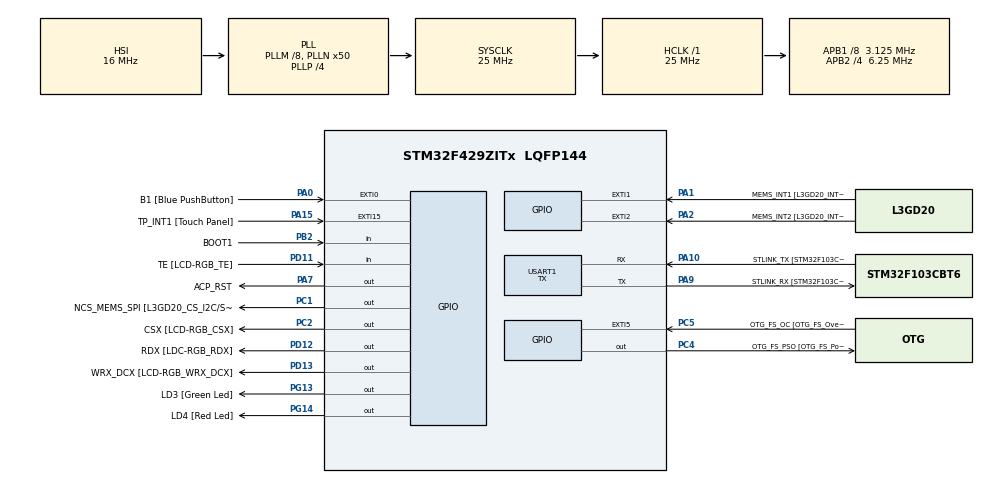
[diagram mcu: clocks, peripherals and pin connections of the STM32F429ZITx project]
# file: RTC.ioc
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Mcu.Family=STM32F4
Mcu.Name=STM32F429ZITx
Mcu.Package=LQFP144
NVIC.PriorityGroup=NVIC_PRIORITYGROUP_0
PA0/WKUP.GPIO_Label=B1 [Blue PushButton]
PA0/WKUP.GPIO_ModeDefaultEXTI=GPIO_MODE_EVT_RISING
PA0/WKUP.GPIO_PuPd=GPIO_NOPULL
PA0/WKUP.Signal=GPXTI0
PA1.GPIO_Label=MEMS_INT1 [L3GD20_INT1]
PA1.GPIO_ModeDefaultEXTI=GPIO_MODE_EVT_RISING
PA1.GPIO_PuPd=GPIO_NOPULL
PA1.Signal=GPXTI1
PA10.GPIO_Label=STLINK_TX [STM32F103CBT6_PA2]
PA10.Mode=Asynchronous
PA10.Signal=USART1_RX
PA11.Signal=USART1_CTS
PA12.Signal=USART1_RTS
PA13.GPIO_Label=SWDIO
PA13.Signal=SYS_JTMS-SWDIO
PA14.GPIO_Label=SWCLK
PA14.Signal=SYS_JTCK-SWCLK
PA15.GPIO_Label=TP_INT1 [Touch Panel]
PA15.GPIO_ModeDefaultEXTI=GPIO_MODE_EVT_RISING
PA15.GPIO_PuPd=GPIO_NOPULL
PA15.Signal=GPXTI15
PA2.GPIO_Label=MEMS_INT2 [L3GD20_INT2]
PA2.GPIO_ModeDefaultEXTI=GPIO_MODE_EVT_RISING
PA2.GPIO_PuPd=GPIO_NOPULL
PA2.Signal=GPXTI2
PA3.GPIO_Label=B5
PA3.GPIO_Mode=GPIO_MODE_AF_PP
PA3.GPIO_PuPd=GPIO_NOPULL
PA3.GPIO_Speed=GPIO_SPEED_FREQ_LOW
PA3.Signal=LTDC_B5
PA4.GPIO_Label=VSYNC
PA4.GPIO_Mode=GPIO_MODE_AF_PP
PA4.GPIO_PuPd=GPIO_NOPULL
PA4.GPIO_Speed=GPIO_SPEED_FREQ_LOW
PA4.Signal=LTDC_VSYNC
PA6.GPIO_Label=G2
PA6.GPIO_Mode=GPIO_MODE_AF_PP
PA6.GPIO_PuPd=GPIO_NOPULL
PA6.GPIO_Speed=GPIO_SPEED_FREQ_LOW
PA6.Signal=LTDC_G2
PA7.GPIO_Label=ACP_RST
PA7.GPIO_Mode=GPIO_MODE_OUTPUT_PP
PA7.GPIO_PuPd=GPIO_NOPULL
PA7.GPIO_Speed=GPIO_SPEED_FREQ_LOW
PA7.Signal=GPIO_Output
PA9.GPIO_Label=STLINK_RX [STM32F103CBT6_PA3]
PA9.Mode=Asynchronous
PA9.Signal=USART1_TX
PB0.GPIO_Label=R3
PB0.GPIO_Mode=GPIO_MODE_AF_PP
PB0.GPIO_PuPd=GPIO_NOPULL
PB0.GPIO_Speed=GPIO_SPEED_FREQ_LOW
PB0.Signal=LTDC_R3
PB1.GPIO_Label=R6
PB1.GPIO_Mode=GPIO_MODE_AF_PP
PB1.GPIO_PuPd=GPIO_NOPULL
PB1.GPIO_Speed=GPIO_SPEED_FREQ_LOW
PB1.Signal=LTDC_R6
PB10.GPIO_Label=G4
PB10.GPIO_Mode=GPIO_MODE_AF_PP
PB10.GPIO_PuPd=GPIO_NOPULL
PB10.GPIO_Speed=GPIO_SPEED_FREQ_LOW
PB10.Signal=LTDC_G4
PB11.GPIO_Label=G5
PB11.GPIO_Mode=GPIO_MODE_AF_PP
PB11.GPIO_PuPd=GPIO_NOPULL
PB11.GPIO_Speed=GPIO_SPEED_FREQ_LOW
PB11.Signal=LTDC_G5
PB12.GPIO_Label=OTG_HS_ID
PB12.GPIO_Mode=GPIO_MODE_AF_PP
PB12.GPIO_PuPd=GPIO_NOPULL
PB12.GPIO_Speed=GPIO_SPEED_FREQ_LOW
PB12.Signal=USB_OTG_HS_ID
PB13.GPIO_Label=VBUS_HS
PB13.GPIO_Mode=GPIO_MODE_INPUT
PB13.GPIO_PuPd=GPIO_NOPULL
PB13.Signal=USB_OTG_HS_VBUS
PB14.GPIO_Label=OTG_HS_DM
PB14.GPIO_Mode=GPIO_MODE_AF_PP
PB14.GPIO_PuPd=GPIO_NOPULL
PB14.GPIO_Speed=GPIO_SPEED_FREQ_LOW
PB14.Signal=USB_OTG_HS_DM
PB15.GPIO_Label=OTG_HS_DP
PB15.GPIO_Mode=GPIO_MODE_AF_PP
PB15.GPIO_PuPd=GPIO_NOPULL
PB15.GPIO_Speed=GPIO_SPEED_FREQ_LOW
PB15.Signal=USB_OTG_HS_DP
PB2/BOOT1.GPIO_Label=BOOT1
PB2/BOOT1.GPIO_Mode=GPIO_MODE_INPUT
PB2/BOOT1.GPIO_PuPd=GPIO_NOPULL
PB2/BOOT1.Signal=GPIO_Input
PB5.GPIO_Label=SDCKE1
PB5.GPIO_Mode=GPIO_MODE_AF_PP
PB5.GPIO_PuPd=GPIO_NOPULL
PB5.GPIO_Speed=GPIO_SPEED_FREQ_VERY_HIGH
PB5.Signal=FMC_SDCKE1
PB6.GPIO_Label=SDNE1 [SDRAM_CS]
PB6.GPIO_Mode=GPIO_MODE_AF_PP
PB6.GPIO_PuPd=GPIO_NOPULL
PB6.GPIO_Speed=GPIO_SPEED_FREQ_VERY_HIGH
PB6.Signal=FMC_SDNE1
PB8.GPIO_Label=B6
PB8.GPIO_Mode=GPIO_MODE_AF_PP
PB8.GPIO_PuPd=GPIO_NOPULL
PB8.GPIO_Speed=GPIO_SPEED_FREQ_LOW
PB8.Signal=LTDC_B6
PB9.GPIO_Label=B7
PB9.GPIO_Mode=GPIO_MODE_AF_PP
PB9.GPIO_PuPd=GPIO_NOPULL
PB9.GPIO_Speed=GPIO_SPEED_FREQ_LOW
PB9.Signal=LTDC_B7
PC0.GPIO_Label=SDNWE
PC0.GPIO_Mode=GPIO_MODE_AF_PP
PC0.GPIO_PuPd=GPIO_NOPULL
PC0.GPIO_Speed=GPIO_SPEED_FREQ_VERY_HIGH
PC0.Signal=FMC_SDNWE
PC1.GPIO_Label=NCS_MEMS_SPI [L3GD20_CS_I2C/SPI]
PC1.GPIO_Mode=GPIO_MODE_OUTPUT_PP
PC1.GPIO_PuPd=GPIO_NOPULL
PC1.GPIO_Speed=GPIO_SPEED_FREQ_LOW
PC1.Signal=GPIO_Output
PC10.GPIO_Label=R2
PC10.GPIO_Mode=GPIO_MODE_AF_PP
PC10.GPIO_PuPd=GPIO_NOPULL
PC10.GPIO_Speed=GPIO_SPEED_FREQ_LOW
PC10.Signal=LTDC_R2
PC14/OSC32_IN.GPIO_Label=PC14-OSC32_IN
PC14/OSC32_IN.Signal=RCC_OSC32_IN
PC15/OSC32_OUT.GPIO_Label=PC15-OSC32_OUT
PC15/OSC32_OUT.Signal=RCC_OSC32_OUT
PC2.GPIO_Label=CSX [LCD-RGB_CSX]
PC2.GPIO_Mode=GPIO_MODE_OUTPUT_PP
PC2.GPIO_PuPd=GPIO_NOPULL
PC2.GPIO_Speed=GPIO_SPEED_FREQ_LOW
PC2.Signal=GPIO_Output
PC4.GPIO_Label=OTG_FS_PSO [OTG_FS_PowerSwitchOn]
PC4.GPIO_Mode=GPIO_MODE_OUTPUT_PP
PC4.GPIO_PuPd=GPIO_NOPULL
PC4.GPIO_Speed=GPIO_SPEED_FREQ_LOW
PC4.Signal=GPIO_Output
PC5.GPIO_Label=OTG_FS_OC [OTG_FS_OverCurrent]
PC5.GPIO_ModeDefaultEXTI=GPIO_MODE_EVT_RISING
PC5.Signal=GPXTI5
PC6.GPIO_Label=HSYNC
PC6.GPIO_Mode=GPIO_MODE_AF_PP
PC6.GPIO_PuPd=GPIO_NOPULL
PC6.GPIO_Speed=GPIO_SPEED_FREQ_LOW
PC6.Signal=LTDC_HSYNC
PC7.GPIO_Label=G6
PC7.GPIO_Mode=GPIO_MODE_AF_PP
PC7.GPIO_PuPd=GPIO_NOPULL
PC7.GPIO_Speed=GPIO_SPEED_FREQ_LOW
PC7.Signal=LTDC_G6
PC9.GPIO_Label=I2C3_SDA [ACP/RF_SDA]
PC9.GPIO_Mode=GPIO_MODE_AF_OD
PC9.GPIO_PuPd=GPIO_NOPULL
PC9.GPIO_Speed=GPIO_SPEED_FREQ_LOW
PC9.Signal=I2C3_SDA
PD0.GPIO_Label=D2
PD0.GPIO_Mode=GPIO_MODE_AF_PP
PD0.GPIO_PuPd=GPIO_NOPULL
PD0.GPIO_Speed=GPIO_SPEED_FREQ_VERY_HIGH
PD0.Signal=FMC_D2_DA2
PD1.GPIO_Label=D3
PD1.GPIO_Mode=GPIO_MODE_AF_PP
PD1.GPIO_PuPd=GPIO_NOPULL
PD1.GPIO_Speed=GPIO_SPEED_FREQ_VERY_HIGH
PD1.Signal=FMC_D3_DA3
PD10.GPIO_Label=D15
PD10.GPIO_Mode=GPIO_MODE_AF_PP
PD10.GPIO_PuPd=GPIO_NOPULL
PD10.GPIO_Speed=GPIO_SPEED_FREQ_VERY_HIGH
PD10.Signal=FMC_D15_DA15
PD11.GPIO_Label=TE [LCD-RGB_TE]
PD11.GPIO_Mode=GPIO_MODE_INPUT
PD11.GPIO_PuPd=GPIO_NOPULL
PD11.Signal=GPIO_Input
PD12.GPIO_Label=RDX [LDC-RGB_RDX]
PD12.GPIO_Mode=GPIO_MODE_OUTPUT_PP
PD12.GPIO_PuPd=GPIO_NOPULL
PD12.GPIO_Speed=GPIO_SPEED_FREQ_LOW
PD12.Signal=GPIO_Output
PD13.GPIO_Label=WRX_DCX [LCD-RGB_WRX_DCX]
PD13.GPIO_Mode=GPIO_MODE_OUTPUT_PP
PD13.GPIO_PuPd=GPIO_NOPULL
PD13.GPIO_Speed=GPIO_SPEED_FREQ_LOW
PD13.Signal=GPIO_Output
PD14.GPIO_Label=D0
PD14.GPIO_Mode=GPIO_MODE_AF_PP
PD14.GPIO_PuPd=GPIO_NOPULL
PD14.GPIO_Speed=GPIO_SPEED_FREQ_VERY_HIGH
PD14.Signal=FMC_D0_DA0
PD15.GPIO_Label=D1
PD15.GPIO_Mode=GPIO_MODE_AF_PP
PD15.GPIO_PuPd=GPIO_NOPULL
PD15.GPIO_Speed=GPIO_SPEED_FREQ_VERY_HIGH
PD15.Signal=FMC_D1_DA1
PD3.GPIO_Label=G7
PD3.GPIO_Mode=GPIO_MODE_AF_PP
PD3.GPIO_PuPd=GPIO_NOPULL
PD3.GPIO_Speed=GPIO_SPEED_FREQ_LOW
PD3.Signal=LTDC_G7
PD6.GPIO_Label=B2
PD6.GPIO_Mode=GPIO_MODE_AF_PP
PD6.GPIO_PuPd=GPIO_NOPULL
PD6.GPIO_Speed=GPIO_SPEED_FREQ_LOW
PD6.Signal=LTDC_B2
PD8.GPIO_Label=D13
PD8.GPIO_Mode=GPIO_MODE_AF_PP
PD8.GPIO_PuPd=GPIO_NOPULL
PD8.GPIO_Speed=GPIO_SPEED_FREQ_VERY_HIGH
PD8.Signal=FMC_D13_DA13
PD9.GPIO_Label=D14
PD9.GPIO_Mode=GPIO_MODE_AF_PP
PD9.GPIO_PuPd=GPIO_NOPULL
PD9.GPIO_Speed=GPIO_SPEED_FREQ_VERY_HIGH
PD9.Signal=FMC_D14_DA14
PE0.GPIO_Label=NBL0 [SDRAM_LDQM]
PE0.GPIO_Mode=GPIO_MODE_AF_PP
PE0.GPIO_PuPd=GPIO_NOPULL
PE0.GPIO_Speed=GPIO_SPEED_FREQ_VERY_HIGH
PE0.Signal=FMC_NBL0
PE1.GPIO_Label=NBL1 [SDRAM_UDQM]
PE1.GPIO_Mode=GPIO_MODE_AF_PP
PE1.GPIO_PuPd=GPIO_NOPULL
PE1.GPIO_Speed=GPIO_SPEED_FREQ_VERY_HIGH
PE1.Signal=FMC_NBL1
PE10.GPIO_Label=D7
PE10.GPIO_Mode=GPIO_MODE_AF_PP
PE10.GPIO_PuPd=GPIO_NOPULL
PE10.GPIO_Speed=GPIO_SPEED_FREQ_VERY_HIGH
PE10.Signal=FMC_D7_DA7
PE11.GPIO_Label=D8
PE11.GPIO_Mode=GPIO_MODE_AF_PP
PE11.GPIO_PuPd=GPIO_NOPULL
PE11.GPIO_Speed=GPIO_SPEED_FREQ_VERY_HIGH
PE11.Signal=FMC_D8_DA8
PE12.GPIO_Label=D9
PE12.GPIO_Mode=GPIO_MODE_AF_PP
PE12.GPIO_PuPd=GPIO_NOPULL
PE12.GPIO_Speed=GPIO_SPEED_FREQ_VERY_HIGH
PE12.Signal=FMC_D9_DA9
PE13.GPIO_Label=D10
PE13.GPIO_Mode=GPIO_MODE_AF_PP
PE13.GPIO_PuPd=GPIO_NOPULL
PE13.GPIO_Speed=GPIO_SPEED_FREQ_VERY_HIGH
PE13.Signal=FMC_D10_DA10
PE14.GPIO_Label=D11
PE14.GPIO_Mode=GPIO_MODE_AF_PP
PE14.GPIO_PuPd=GPIO_NOPULL
PE14.GPIO_Speed=GPIO_SPEED_FREQ_VERY_HIGH
PE14.Signal=FMC_D11_DA11
PE15.GPIO_Label=D12
PE15.GPIO_Mode=GPIO_MODE_AF_PP
PE15.GPIO_PuPd=GPIO_NOPULL
PE15.GPIO_Speed=GPIO_SPEED_FREQ_VERY_HIGH
PE15.Signal=FMC_D12_DA12
PE7.GPIO_Label=D4
PE7.GPIO_Mode=GPIO_MODE_AF_PP
PE7.GPIO_PuPd=GPIO_NOPULL
PE7.GPIO_Speed=GPIO_SPEED_FREQ_VERY_HIGH
PE7.Signal=FMC_D4_DA4
PE8.GPIO_Label=D5
PE8.GPIO_Mode=GPIO_MODE_AF_PP
PE8.GPIO_PuPd=GPIO_NOPULL
PE8.GPIO_Speed=GPIO_SPEED_FREQ_VERY_HIGH
PE8.Signal=FMC_D5_DA5
PE9.GPIO_Label=D6
PE9.GPIO_Mode=GPIO_MODE_AF_PP
PE9.GPIO_PuPd=GPIO_NOPULL
PE9.GPIO_Speed=GPIO_SPEED_FREQ_VERY_HIGH
PE9.Signal=FMC_D6_DA6
PF0.GPIO_Label=A0
PF0.GPIO_Mode=GPIO_MODE_AF_PP
PF0.GPIO_PuPd=GPIO_NOPULL
PF0.GPIO_Speed=GPIO_SPEED_FREQ_VERY_HIGH
PF0.Signal=FMC_A0
PF1.GPIO_Label=A1
PF1.GPIO_Mode=GPIO_MODE_AF_PP
PF1.GPIO_PuPd=GPIO_NOPULL
PF1.GPIO_Speed=GPIO_SPEED_FREQ_VERY_HIGH
PF1.Signal=FMC_A1
PF10.GPIO_Label=ENABLE [LCD-RGB_ENABLE]
PF10.GPIO_Mode=GPIO_MODE_AF_PP
PF10.GPIO_PuPd=GPIO_NOPULL
PF10.GPIO_Speed=GPIO_SPEED_FREQ_LOW
PF10.Signal=LTDC_DE
PF11.GPIO_Label=SDNRAS
PF11.GPIO_Mode=GPIO_MODE_AF_PP
PF11.GPIO_PuPd=GPIO_NOPULL
PF11.GPIO_Speed=GPIO_SPEED_FREQ_VERY_HIGH
PF11.Signal=FMC_SDNRAS
PF12.GPIO_Label=A6
PF12.GPIO_Mode=GPIO_MODE_AF_PP
PF12.GPIO_PuPd=GPIO_NOPULL
PF12.GPIO_Speed=GPIO_SPEED_FREQ_VERY_HIGH
PF12.Signal=FMC_A6
PF13.GPIO_Label=A7
PF13.GPIO_Mode=GPIO_MODE_AF_PP
PF13.GPIO_PuPd=GPIO_NOPULL
PF13.GPIO_Speed=GPIO_SPEED_FREQ_VERY_HIGH
PF13.Signal=FMC_A7
PF14.GPIO_Label=A8
PF14.GPIO_Mode=GPIO_MODE_AF_PP
PF14.GPIO_PuPd=GPIO_NOPULL
PF14.GPIO_Speed=GPIO_SPEED_FREQ_VERY_HIGH
PF14.Signal=FMC_A8
PF15.GPIO_Label=A9
PF15.GPIO_Mode=GPIO_MODE_AF_PP
PF15.GPIO_PuPd=GPIO_NOPULL
PF15.GPIO_Speed=GPIO_SPEED_FREQ_VERY_HIGH
PF15.Signal=FMC_A9
PF2.GPIO_Label=A2
PF2.GPIO_Mode=GPIO_MODE_AF_PP
PF2.GPIO_PuPd=GPIO_NOPULL
PF2.GPIO_Speed=GPIO_SPEED_FREQ_VERY_HIGH
PF2.Signal=FMC_A2
PF3.GPIO_Label=A3
PF3.GPIO_Mode=GPIO_MODE_AF_PP
PF3.GPIO_PuPd=GPIO_NOPULL
PF3.GPIO_Speed=GPIO_SPEED_FREQ_VERY_HIGH
PF3.Signal=FMC_A3
PF4.GPIO_Label=A4
PF4.GPIO_Mode=GPIO_MODE_AF_PP
PF4.GPIO_PuPd=GPIO_NOPULL
PF4.GPIO_Speed=GPIO_SPEED_FREQ_VERY_HIGH
PF4.Signal=FMC_A4
PF5.GPIO_Label=A5
PF5.GPIO_Mode=GPIO_MODE_AF_PP
PF5.GPIO_PuPd=GPIO_NOPULL
PF5.GPIO_Speed=GPIO_SPEED_FREQ_VERY_HIGH
PF5.Signal=FMC_A5
PF7.GPIO_Label=SPI5_SCK [L3GD20_SCL/SPC]
PF7.GPIO_Mode=GPIO_MODE_AF_PP
PF7.GPIO_PuPd=GPIO_NOPULL
PF7.GPIO_Speed=GPIO_SPEED_FREQ_LOW
PF7.Signal=SPI5_SCK
PF8.GPIO_Label=SPI5_MISO [L3GD20_SDO]
PF8.GPIO_Mode=GPIO_MODE_AF_PP
PF8.GPIO_PuPd=GPIO_NOPULL
PF8.GPIO_Speed=GPIO_SPEED_FREQ_LOW
PF8.Signal=SPI5_MISO
PF9.GPIO_Label=SPI5_MOSI [L3GD20_SDA/SDI/SDO]
PF9.GPIO_Mode=GPIO_MODE_AF_PP
PF9.GPIO_PuPd=GPIO_NOPULL
PF9.GPIO_Speed=GPIO_SPEED_FREQ_LOW
PF9.Signal=SPI5_MOSI
PG0.GPIO_Label=A10
PG0.GPIO_Mode=GPIO_MODE_AF_PP
PG0.GPIO_PuPd=GPIO_NOPULL
PG0.GPIO_Speed=GPIO_SPEED_FREQ_VERY_HIGH
PG0.Signal=FMC_A10
PG1.GPIO_Label=A11
PG1.GPIO_Mode=GPIO_MODE_AF_PP
PG1.GPIO_PuPd=GPIO_NOPULL
PG1.GPIO_Speed=GPIO_SPEED_FREQ_VERY_HIGH
PG1.Signal=FMC_A11
PG10.GPIO_Label=G3
PG10.GPIO_Mode=GPIO_MODE_AF_PP
PG10.GPIO_PuPd=GPIO_NOPULL
PG10.GPIO_Speed=GPIO_SPEED_FREQ_LOW
PG10.Signal=LTDC_G3
PG11.GPIO_Label=B3
PG11.GPIO_Mode=GPIO_MODE_AF_PP
PG11.GPIO_PuPd=GPIO_NOPULL
PG11.GPIO_Speed=GPIO_SPEED_FREQ_LOW
PG11.Signal=LTDC_B3
PG12.GPIO_Label=B4
PG12.GPIO_Mode=GPIO_MODE_AF_PP
PG12.GPIO_PuPd=GPIO_NOPULL
PG12.GPIO_Speed=GPIO_SPEED_FREQ_LOW
PG12.Signal=LTDC_B4
PG13.GPIO_Label=LD3 [Green Led]
PG13.GPIO_Mode=GPIO_MODE_OUTPUT_PP
PG13.GPIO_PuPd=GPIO_NOPULL
PG13.GPIO_Speed=GPIO_SPEED_FREQ_LOW
PG13.Signal=GPIO_Output
PG14.GPIO_Label=LD4 [Red Led]
PG14.GPIO_Mode=GPIO_MODE_OUTPUT_PP
PG14.GPIO_PuPd=GPIO_NOPULL
PG14.GPIO_Speed=GPIO_SPEED_FREQ_LOW
PG14.Signal=GPIO_Output
PG15.GPIO_Label=SDNCAS
PG15.GPIO_Mode=GPIO_MODE_AF_PP
PG15.GPIO_PuPd=GPIO_NOPULL
PG15.GPIO_Speed=GPIO_SPEED_FREQ_VERY_HIGH
PG15.Signal=FMC_SDNCAS
PG4.GPIO_Label=BA0
PG4.GPIO_Mode=GPIO_MODE_AF_PP
PG4.GPIO_PuPd=GPIO_NOPULL
PG4.GPIO_Speed=GPIO_SPEED_FREQ_VERY_HIGH
PG4.Signal=FMC_A14_BA0
PG5.GPIO_Label=BA1
PG5.GPIO_Mode=GPIO_MODE_AF_PP
PG5.GPIO_PuPd=GPIO_NOPULL
PG5.GPIO_Speed=GPIO_SPEED_FREQ_VERY_HIGH
PG5.Signal=FMC_A15_BA1
PG6.GPIO_Label=R7
PG6.GPIO_Mode=GPIO_MODE_AF_PP
PG6.GPIO_PuPd=GPIO_NOPULL
PG6.GPIO_Speed=GPIO_SPEED_FREQ_LOW
PG6.Signal=LTDC_R7
PG7.GPIO_Label=DOTCLK [LCT-RGB_DOTCLK]
PG7.GPIO_Mode=GPIO_MODE_AF_PP
PG7.GPIO_PuPd=GPIO_NOPULL
PG7.GPIO_Speed=GPIO_SPEED_FREQ_LOW
PG7.Signal=LTDC_CLK
PG8.GPIO_Label=SDCLK
PG8.GPIO_Mode=GPIO_MODE_AF_PP
PG8.GPIO_PuPd=GPIO_NOPULL
PG8.GPIO_Speed=GPIO_SPEED_FREQ_VERY_HIGH
PG8.Signal=FMC_SDCLK
PH0/OSC_IN.GPIO_Label=PH0-OSC_IN
PH0/OSC_IN.Signal=RCC_OSC_IN
PH1/OSC_OUT.GPIO_Label=PH1-OSC_OUT
PH1/OSC_OUT.Signal=RCC_OSC_OUT
ProjectManager.HeapSize=0x200
ProjectManager.StackSize=0x400
ProjectManager.TargetToolchain=STM32CubeIDE
RCC.48MHZClocksFreq_Value=14285714.285714285
RCC.AHBFreq_Value=25000000
RCC.APB1CLKDivider=RCC_HCLK_DIV8
RCC.APB1Freq_Value=3125000
RCC.APB1TimFreq_Value=6250000
RCC.APB2CLKDivider=RCC_HCLK_DIV4
RCC.APB2Freq_Value=6250000
RCC.APB2TimFreq_Value=12500000
RCC.CortexFreq_Value=25000000
RCC.HCLKFreq_Value=25000000
RCC.HSE_VALUE=8000000
RCC.HSI_VALUE=16000000
RCC.LSE_VALUE=32768
RCC.PLLM=8
RCC.PLLN=50
RCC.PLLP=RCC_PLLP_DIV4
RCC.PLLQ=7
RCC.SYSCLKFreq_VALUE=25000000
RCC.SYSCLKSource=RCC_SYSCLKSOURCE_PLLCLK
RCC.VCOOutputFreq_Value=100000000
SH.FMC_A0.0=FMC_A0
SH.FMC_A1.0=FMC_A1
SH.FMC_A10.0=FMC_A10
SH.FMC_A11.0=FMC_A11
SH.FMC_A14_BA0.0=FMC_BA0
SH.FMC_A15_BA1.0=FMC_BA1
SH.FMC_A2.0=FMC_A2
SH.FMC_A3.0=FMC_A3
SH.FMC_A4.0=FMC_A4
SH.FMC_A5.0=FMC_A5
SH.FMC_A6.0=FMC_A6
SH.FMC_A7.0=FMC_A7
SH.FMC_A8.0=FMC_A8
SH.FMC_A9.0=FMC_A9
SH.FMC_D0_DA0.0=FMC_D0
SH.FMC_D10_DA10.0=FMC_D10
SH.FMC_D11_DA11.0=FMC_D11
SH.FMC_D12_DA12.0=FMC_D12
SH.FMC_D13_DA13.0=FMC_D13
SH.FMC_D14_DA14.0=FMC_D14
SH.FMC_D15_DA15.0=FMC_D15
SH.FMC_D1_DA1.0=FMC_D1
SH.FMC_D2_DA2.0=FMC_D2
SH.FMC_D3_DA3.0=FMC_D3
SH.FMC_D4_DA4.0=FMC_D4
SH.FMC_D5_DA5.0=FMC_D5
SH.FMC_D6_DA6.0=FMC_D6
SH.FMC_D7_DA7.0=FMC_D7
SH.FMC_D8_DA8.0=FMC_D8
SH.FMC_D9_DA9.0=FMC_D9
SH.FMC_NBL0.0=FMC_NBL0
SH.FMC_NBL1.0=FMC_NBL1
SH.FMC_SDCLK.0=FMC_SDCLK
SH.FMC_SDNCAS.0=FMC_SDNCAS
SH.FMC_SDNRAS.0=FMC_SDNRAS
SH.FMC_SDNWE.0=FMC_SDNWE
USART1.Mode=MODE_TX
USART1.VirtualMode=VM_ASYNC
VP_RTC_VS_RTC_Activate.Mode=RTC_Enabled
VP_RTC_VS_RTC_Calendar.Mode=RTC_Calendar
board=STM32F429I-DISC1

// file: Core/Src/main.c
/* USER CODE BEGIN Header */
/**
  ******************************************************************************
  * @file           : main.c
  * @brief          : Main program body
  ******************************************************************************
  * @attention
  *
  * Copyright (c) 2022 STMicroelectronics.
  * All rights reserved.
  *
  * This software is licensed under terms that can be found in the LICENSE file
  * in the root directory of this software component.
  * If no LICENSE file comes with this software, it is provided AS-IS.
  *
  ******************************************************************************
  */
/* USER CODE END Header */
#include "main.h"
#include "rtc.h"
#include "usart.h"
#include "gpio.h"

/* USER CODE BEGIN Includes */
#include <stdio.h>
#include <string.h>
/* USER CODE END Includes */

/* USER CODE BEGIN PTD */
void get_time(void);
void set_time(void);
void set_alarm(void);
/* USER CODE END PTD */

void SystemClock_Config(void);

int main(void)
{

  /* MCU Configuration--------------------------------------------------------*/

  /* Reset of all peripherals, Initializes the Flash interface and the Systick. */
  HAL_Init();

  /* Configure the system clock */
  SystemClock_Config();

  /* Initialize all configured peripherals */
  MX_GPIO_Init();
  MX_RTC_Init();
  MX_USART1_UART_Init();

  /* Infinite loop */
  while (1)
  {

    /* USER CODE BEGIN 3 */
	SendStart();
	get_time();
	set_time();
	get_time();
	set_alarm();
	HAL_Delay(3000);
  }
  /* USER CODE END 3 */
}

void SystemClock_Config(void)
{
  RCC_OscInitTypeDef RCC_OscInitStruct = {0};
  RCC_ClkInitTypeDef RCC_ClkInitStruct = {0};

  /** Configure the main internal regulator output voltage
  */
  __HAL_RCC_PWR_CLK_ENABLE();
  __HAL_PWR_VOLTAGESCALING_CONFIG(PWR_REGULATOR_VOLTAGE_SCALE3);

  /** Initializes the RCC Oscillators according to the specified parameters
  * in the RCC_OscInitTypeDef structure.
  */
  RCC_OscInitStruct.OscillatorType = RCC_OSCILLATORTYPE_HSI|RCC_OSCILLATORTYPE_LSI;
  RCC_OscInitStruct.HSIState = RCC_HSI_ON;
  RCC_OscInitStruct.HSICalibrationValue = RCC_HSICALIBRATION_DEFAULT;
  RCC_OscInitStruct.LSIState = RCC_LSI_ON;
  RCC_OscInitStruct.PLL.PLLState = RCC_PLL_ON;
  RCC_OscInitStruct.PLL.PLLSource = RCC_PLLSOURCE_HSI;
  RCC_OscInitStruct.PLL.PLLM = 8;
  RCC_OscInitStruct.PLL.PLLN = 50;
  RCC_OscInitStruct.PLL.PLLP = RCC_PLLP_DIV4;
  RCC_OscInitStruct.PLL.PLLQ = 7;
  if (HAL_RCC_OscConfig(&RCC_OscInitStruct) != HAL_OK)
  {
    Error_Handler();
  }

  /** Initializes the CPU, AHB and APB buses clocks
  */
  RCC_ClkInitStruct.ClockType = RCC_CLOCKTYPE_HCLK|RCC_CLOCKTYPE_SYSCLK
                              |RCC_CLOCKTYPE_PCLK1|RCC_CLOCKTYPE_PCLK2;
  RCC_ClkInitStruct.SYSCLKSource = RCC_SYSCLKSOURCE_PLLCLK;
  RCC_ClkInitStruct.AHBCLKDivider = RCC_SYSCLK_DIV1;
  RCC_ClkInitStruct.APB1CLKDivider = RCC_HCLK_DIV8;
  RCC_ClkInitStruct.APB2CLKDivider = RCC_HCLK_DIV4;

  if (HAL_RCC_ClockConfig(&RCC_ClkInitStruct, FLASH_LATENCY_0) != HAL_OK)
  {
    Error_Handler();
  }
}

/* USER CODE BEGIN 4 */

// source: https://controllerstech.com/internal-rtc-in-stm32/#:~:text=Most%20of%20the%20STM32%20devices,access%20internal%20RTC%20in%20STM32.

void set_time (void)
{
  RTC_TimeTypeDef sTime;
  RTC_DateTypeDef sDate;
  sTime.Hours = 0x10; // set hours
  sTime.Minutes = 0x20; // set minutes
  sTime.Seconds = 0x30; // set seconds
  sTime.DayLightSaving = RTC_DAYLIGHTSAVING_NONE;
  sTime.StoreOperation = RTC_STOREOPERATION_RESET;
  if (HAL_RTC_SetTime(&hrtc, &sTime, RTC_FORMAT_BCD) != HAL_OK)
  {
//    _Error_Handler(__FILE__, __LINE__);
  }
  sDate.WeekDay = RTC_WEEKDAY_THURSDAY;
  sDate.Month = RTC_MONTH_AUGUST;
  sDate.Date = 0x9;
  sDate.Year = 0x18;
  if (HAL_RTC_SetDate(&hrtc, &sDate, RTC_FORMAT_BCD) != HAL_OK)
  {
//    _Error_Handler(__FILE__, __LINE__);
  }
  HAL_RTCEx_BKUPWrite(&hrtc, RTC_BKP_DR1, 0x32F2); // backup register
}

void get_time(void)
{
 RTC_DateTypeDef gDate;
 RTC_TimeTypeDef gTime;
/* Get the RTC current Time */
 HAL_RTC_GetTime(&hrtc, &gTime, RTC_FORMAT_BIN);
/* Get the RTC current Date */
 HAL_RTC_GetDate(&hrtc, &gDate, RTC_FORMAT_BIN);
/* Display time Format: hh:mm:ss */
 char time[20] = {0};
 sprintf((char*)time,"%02d:%02d:%02d",gTime.Hours, gTime.Minutes, gTime.Seconds);
/* Display date Format: dd-mm-yy */
 char date[20] = {0};
 sprintf((char*)date,"%02d-%02d-%2d",gDate.Date, gDate.Month, 2000 + gDate.Year);
 printf(time);
 printf(date);
}

//void display_time (void)
//{
// lcd_send_cmd (0x80); // send cursor to 0,0
// lcd_send_string (time);
// lcd_send_cmd (0xc0); // send cursor to 1,0
// lcd_send_string (date);
//}

RTC_AlarmTypeDef sAlarm = {0};
void set_alarm (void)
{
  sAlarm.AlarmTime.Hours = 0x00; // hours
  sAlarm.AlarmTime.Minutes = 0x00; // min
  sAlarm.AlarmTime.Seconds = 0x30; //seconds
  sAlarm.AlarmTime.SubSeconds = 0x0;
  sAlarm.AlarmTime.DayLightSaving = RTC_DAYLIGHTSAVING_NONE;
  sAlarm.AlarmTime.StoreOperation = RTC_STOREOPERATION_RESET;
  sAlarm.AlarmMask = RTC_ALARMMASK_NONE;
  sAlarm.AlarmSubSecondMask = RTC_ALARMSUBSECONDMASK_ALL;
  sAlarm.AlarmDateWeekDaySel = RTC_ALARMDATEWEEKDAYSEL_DATE;
  sAlarm.AlarmDateWeekDay = 0x9; // DATE
  sAlarm.Alarm = RTC_ALARM_A;
  if (HAL_RTC_SetAlarm_IT(&hrtc, &sAlarm, RTC_FORMAT_BCD) != HAL_OK)
  {
//    _Error_Handler(__FILE__, __LINE__);
  }
}

void HAL_RTC_AlarmAEventCallback(RTC_HandleTypeDef *hrtc)
{
  HAL_GPIO_WritePin (LD3_GPIO_Port, LD3_Pin, 1); // turn on the LED
}

int _write(int fd, char* ptr, int len) {
    HAL_UART_Transmit(&huart1, (uint8_t *) ptr, len, HAL_MAX_DELAY);
    return len;
}
/* USER CODE END 4 */

void Error_Handler(void)
{
  __disable_irq();
  while (1)
  {
  }
}
